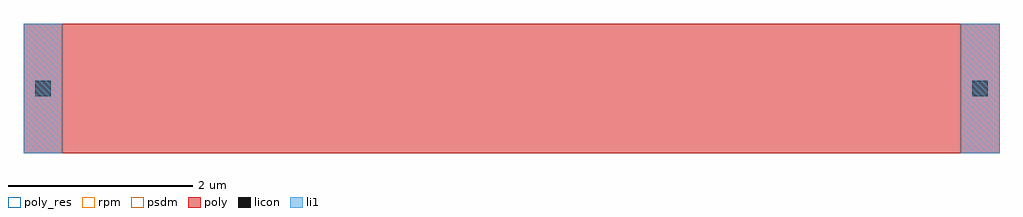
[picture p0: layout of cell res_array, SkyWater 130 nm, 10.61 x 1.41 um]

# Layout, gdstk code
import gdstk
lib = gdstk.Library(unit=1e-6, precision=1e-09)
def R(c, l, rs):  # rectangles x0, y0, x1, y1
    for r in rs: c.add(gdstk.rectangle(r[:2], r[2:], *l))
poly_res = (66, 13)
poly = (66, 20)
licon = (66, 44)
li1 = (67, 20)
rpm = (86, 20)
psdm = (94, 20)

res_array = lib.new_cell('res_array')
R(res_array, poly_res, [(0.42,0,10.185,1.41)])
R(res_array, poly, [(0,0,10.605,1.41)])
R(res_array, licon, [(0.125,0.62,0.295,0.79), (10.31,0.62,10.48,0.79)])
R(res_array, li1, [(0,0,0.42,1.41), (10.185,0,10.605,1.41)])
R(res_array, rpm, [(0.42,0,10.185,1.41)])
R(res_array, psdm, [(0.42,0,10.185,1.41)])

lib.write_gds('res_array.gds')
